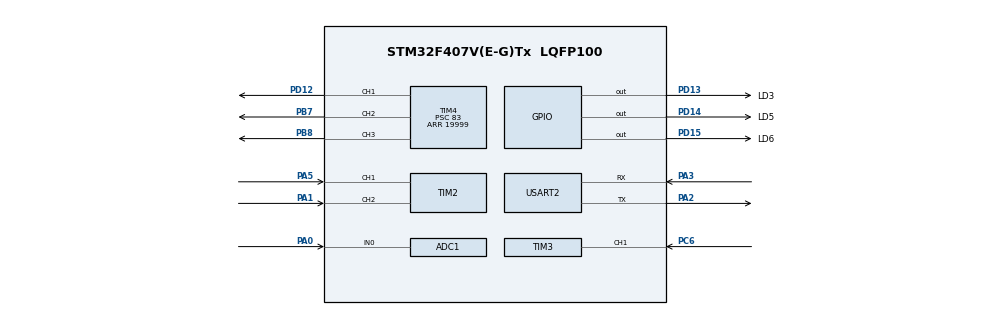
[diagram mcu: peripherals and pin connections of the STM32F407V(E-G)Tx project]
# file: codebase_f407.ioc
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ADC1.Channel-2\#ChannelRegularConversion=ADC_CHANNEL_0
ADC1.ContinuousConvMode=DISABLE
ADC1.EOCSelection=ADC_EOC_SEQ_CONV
ADC1.ExternalTrigConv=ADC_EXTERNALTRIGCONV_T8_TRGO
ADC1.NbrOfConversion=1
ADC1.NbrOfConversionFlag=1
ADC1.Rank-2\#ChannelRegularConversion=1
ADC1.SamplingTime-2\#ChannelRegularConversion=ADC_SAMPLETIME_480CYCLES
ADC1.master=1
Mcu.Family=STM32F4
Mcu.Name=STM32F407V(E-G)Tx
Mcu.Package=LQFP100
NVIC.ADC_IRQn=true\:0\:0\:false\:false\:true\:true\:true\:true
NVIC.PriorityGroup=NVIC_PRIORITYGROUP_4
NVIC.TIM3_IRQn=true\:0\:0\:false\:false\:true\:true\:true\:true
NVIC.TIM7_IRQn=true\:0\:0\:false\:false\:true\:true\:true\:true
NVIC.USART2_IRQn=true\:0\:0\:false\:false\:true\:true\:true\:true
PA0-WKUP.Signal=ADCx_IN0
PA1.Signal=S_TIM2_CH2
PA2.Mode=Asynchronous
PA2.Signal=USART2_TX
PA3.Mode=Asynchronous
PA3.Signal=USART2_RX
PA5.Signal=S_TIM2_CH1_ETR
PB7.Signal=S_TIM4_CH2
PB8.Signal=S_TIM4_CH3
PC6.Signal=S_TIM3_CH1
PD12.Signal=S_TIM4_CH1
PD13.GPIO_Label=LD3
PD13.Signal=GPIO_Output
PD14.GPIO_Label=LD5
PD14.Signal=GPIO_Output
PD15.GPIO_Label=LD6
PD15.Signal=GPIO_Output
PH0-OSC_IN.Mode=HSE-External-Oscillator
PH0-OSC_IN.Signal=RCC_OSC_IN
PH1-OSC_OUT.Mode=HSE-External-Oscillator
PH1-OSC_OUT.Signal=RCC_OSC_OUT
ProjectManager.HeapSize=0x200
ProjectManager.StackSize=0x400
ProjectManager.TargetToolchain=STM32CubeIDE
RCC.48MHZClocksFreq_Value=84000000
RCC.AHBFreq_Value=168000000
RCC.APB1CLKDivider=RCC_HCLK_DIV4
RCC.APB1Freq_Value=42000000
RCC.APB1TimFreq_Value=84000000
RCC.APB2CLKDivider=RCC_HCLK_DIV2
RCC.APB2Freq_Value=84000000
RCC.APB2TimFreq_Value=168000000
RCC.CortexFreq_Value=168000000
RCC.HCLKFreq_Value=168000000
RCC.HSE_VALUE=8000000
RCC.HSI_VALUE=16000000
RCC.LSE_VALUE=32768
RCC.PLLM=4
RCC.PLLN=168
RCC.PLLSourceVirtual=RCC_PLLSOURCE_HSE
RCC.RCC_MCO1Source=RCC_MCO1SOURCE_HSE
RCC.RCC_MCO2Source=RCC_MCO2SOURCE_HSE
RCC.RCC_MCODiv1=RCC_MCODIV_4
RCC.SYSCLKFreq_VALUE=168000000
RCC.SYSCLKSource=RCC_SYSCLKSOURCE_PLLCLK
RCC.VCOOutputFreq_Value=336000000
SH.ADCx_IN0.0=ADC1_IN0,IN0
SH.S_TIM2_CH1_ETR.0=TIM2_CH1,Encoder_Interface
SH.S_TIM2_CH2.0=TIM2_CH2,Encoder_Interface
SH.S_TIM3_CH1.0=TIM3_CH1,Input_Capture1_from_TI1
SH.S_TIM4_CH1.0=TIM4_CH1,PWM Generation1 CH1
SH.S_TIM4_CH2.0=TIM4_CH2,PWM Generation2 CH2
SH.S_TIM4_CH3.0=TIM4_CH3,Output Compare3 CH3
TIM2.AutoReloadPreload=TIM_AUTORELOAD_PRELOAD_ENABLE
TIM2.EncoderMode=TIM_ENCODERMODE_TI12
TIM2.IC1Filter=10
TIM2.IC2Filter=10
TIM3.Channel-Input_Capture1_from_TI1=TIM_CHANNEL_1
TIM3.Channel-Input_Capture2_from_TI1_63=TIM_CHANNEL_2
TIM3.ICPolarity_CH2=TIM_INPUTCHANNELPOLARITY_FALLING
TIM3.Prescaler=83
TIM3.TIM_MasterOutputTrigger=TIM_TRGO_RESET
TIM3.TIM_MasterSlaveMode=TIM_MASTERSLAVEMODE_DISABLE
TIM4.AutoReloadPreload=TIM_AUTORELOAD_PRELOAD_ENABLE
TIM4.Channel-Output\ Compare3\ CH3=TIM_CHANNEL_3
TIM4.Channel-PWM\ Generation1\ CH1=TIM_CHANNEL_1
TIM4.Channel-PWM\ Generation2\ CH2=TIM_CHANNEL_2
TIM4.OC3Preload=ENABLE
TIM4.OCMode_3=TIM_OCMODE_TOGGLE
TIM4.Period=19999
TIM4.Prescaler=83
TIM4.Pulse-Output\ Compare3\ CH3=300
TIM4.Pulse-PWM\ Generation1\ CH1=0
TIM4.Pulse-PWM\ Generation2\ CH2=500
TIM4.TIM_MasterSlaveMode=TIM_MASTERSLAVEMODE_DISABLE
TIM7.AutoReloadPreload=TIM_AUTORELOAD_PRELOAD_ENABLE
TIM7.Period=4999
TIM7.Prescaler=8399
USART2.VirtualMode=VM_ASYNC
VP_TIM3_VS_ClockSourceINT.Mode=Internal
VP_TIM3_VS_indirect_ch1.Mode=Input_Capture2_from_TI1_63
VP_TIM4_VS_ClockSourceINT.Mode=Internal
VP_TIM7_VS_ClockSourceINT.Mode=Enable_Timer
board=custom

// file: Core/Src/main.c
/* USER CODE BEGIN Header */
/**
  ******************************************************************************
  * @file           : main.c
  * @brief          : Main program body
  ******************************************************************************
  * @attention
  *
  * Copyright (c) 2026 STMicroelectronics.
  * All rights reserved.
  *
  * This software is licensed under terms that can be found in the LICENSE file
  * in the root directory of this software component.
  * If no LICENSE file comes with this software, it is provided AS-IS.
  *
  ******************************************************************************
  */
/* USER CODE END Header */
#include "main.h"
#include "adc.h"
#include "tim.h"
#include "usart.h"
#include "gpio.h"

/* USER CODE BEGIN Includes */
#include <stdio.h>

/* USER CODE END Includes */

/* USER CODE BEGIN PV */
uint8_t is_first_capture = 1;
uint32_t last_capture = 0;
uint32_t duty_cycle = 0;
uint32_t pulse_width = 0;
uint16_t adc_value;
int16_t angle;
float temperature;
char usart_buffer[50];
int32_t encoder_count = 0;

/* USER CODE END PV */

void SystemClock_Config(void);

/* USER CODE BEGIN 0 */
// int _write(int file, char *ptr, int len)
//{
//     for (int i = 0; i < len; i++) {
//         ITM_SendChar((*ptr++));
//     }
//     return len;
// }

int __io_putchar(int ch)
{
    USART2_sendChar(ch);
    return ch;
}

// Handler for input capture, calculate duty cycle
void input_capture_tim3_cc1_handler(uint32_t captured_value) {
    if (is_first_capture) {
        last_capture = captured_value;
        is_first_capture = 0;
        return;
    }

    if (captured_value >= last_capture) {
        duty_cycle = captured_value - last_capture;
    } else {
        // Handle timer overflow
        duty_cycle = (0xFFFF - last_capture) + captured_value + 1;
    }

    last_capture = captured_value;

    // Print duty cycle for debugging
    // printf("Captured Duty Cycle: %lu\r\n", duty_cycle);

}

// Measure pulse width on falling edge, used for echo signal from ultrasonic sensor
void input_capture_tim3_cc2_handler(uint32_t falling_value) {
    // Calculate pulse width, when falling edge is captured - rising edge was stored
    if (falling_value >= last_capture) {
        pulse_width = falling_value - last_capture;
    } else {
        // Handle timer overflow
        pulse_width = (0xFFFF - last_capture) + falling_value + 1;
    }

    // float distance = ((float) pulse_width * 0.0343f) / 2.0f; // in cm
    // printf("Distance (cm): %d\r\n", (int) distance);
}

// ADC conversion complete interrupt handler
void adc1_interrupt_handler(uint16_t val)
{
    adc_value = val;
    // printf("ADC Value: %d\r\n", adc_value);
}

float ADC_readTemperature(uint16_t adc_raw)
{
    float vsense;
    float temperature;

    // Convert to Vsense
    vsense = (float)adc_raw * 3300.0f / 4095.0f;

    // Calculate temperature in Celsius
    temperature = ((vsense - 760.0f) / 2.5f) + 25.0f;

    return temperature;
}

void usart2_interrupt_handler(uint8_t data)
{
    // Echo received data back
    USART2_sendChar(data);
}

void tim7_interrupt_handler(void)
{
    // Trigger ADC conversion
    ADC1_triggerConvert();

    // Toggle LED LD3
    LL_GPIO_TogglePin(LD3_GPIO_Port, LD3_Pin);

    // Get encoder count from TIM2
    encoder_count = Encoder_GetCount();
    printf("Encoder Count: %ld\r\n", encoder_count);
}

/* USER CODE END 0 */

int main(void)
{

  /* MCU Configuration--------------------------------------------------------*/

  /* Reset of all peripherals, Initializes the Flash interface and the Systick. */
  LL_APB2_GRP1_EnableClock(LL_APB2_GRP1_PERIPH_SYSCFG);
  LL_APB1_GRP1_EnableClock(LL_APB1_GRP1_PERIPH_PWR);

  /* System interrupt init*/
  NVIC_SetPriorityGrouping(NVIC_PRIORITYGROUP_4);

  /* SysTick_IRQn interrupt configuration */
  NVIC_SetPriority(SysTick_IRQn, NVIC_EncodePriority(NVIC_GetPriorityGrouping(),15, 0));

  /* Configure the system clock */
  SystemClock_Config();

  /* USER CODE BEGIN SysInit */
    LL_Init1msTick(168000000);
    LL_SYSTICK_EnableIT();

  /* USER CODE END SysInit */

  /* Initialize all configured peripherals */
  MX_GPIO_Init();
  MX_TIM2_Init();
  MX_TIM4_Init();
  MX_TIM3_Init();
  MX_ADC1_Init();
  MX_USART2_UART_Init();
  MX_TIM7_Init();
  /* USER CODE BEGIN 2 */
    // Initialize servos
    Servo_Init();
  /* USER CODE END 2 */

  /* Infinite loop */
  /* USER CODE BEGIN WHILE */
    // ADC1_triggerConvert();

  while (1)
  {
    // // Rotate servo1 from 0 to 180 degrees
    // for (int16_t angle = 0; angle <= 180; angle += 1) {
    //     Servo_setAngle(SERVO1, angle);
    //     LL_mDelay(5);
    // }

    // LL_mDelay(500);

    // // Rotate servo1 from 180 to 0 degrees
    // for (int16_t angle = 180; angle >= 0; angle -= 1) {
    //     Servo_setAngle(SERVO1, angle);
    //     LL_mDelay(5);
    // }
    // LL_mDelay(500);

    /* Read ADC value */

    // // Mode1: Independent mode
    // ADC1_triggerConvert();
    // adc_value = ADC1_readValue();

    // // Convert ADC value to temperature in Celsius when using internal temperature sensor
    // temperature = ADC_readTemperature(adc_value);
    // printf("ADC Value: %d, Temperature: %d C\r\n", adc_value, (int)temperature);

    // Send adc value to USART2
    // sprintf(usart_buffer, "ADC Value: %d\r\n", adc_value);
    // USART2_sendString(usart_buffer);
    // USART2_Transmit(usart_buffer, strlen(usart_buffer));

    // convert ADC to angle (0-180)
    angle = (adc_value * 180) / 4095;
    Servo_setAngle(SERVO1, angle);
    LL_mDelay(300);

    /* USER CODE END WHILE */

  }
}

void SystemClock_Config(void)
{
  LL_FLASH_SetLatency(LL_FLASH_LATENCY_5);
  while(LL_FLASH_GetLatency()!= LL_FLASH_LATENCY_5)
  {
  }
  LL_PWR_SetRegulVoltageScaling(LL_PWR_REGU_VOLTAGE_SCALE1);
  LL_RCC_HSE_Enable();

   /* Wait till HSE is ready */
  while(LL_RCC_HSE_IsReady() != 1)
  {

  }
  LL_RCC_PLL_ConfigDomain_SYS(LL_RCC_PLLSOURCE_HSE, LL_RCC_PLLM_DIV_4, 168, LL_RCC_PLLP_DIV_2);
  LL_RCC_PLL_Enable();

   /* Wait till PLL is ready */
  while(LL_RCC_PLL_IsReady() != 1)
  {

  }
  while (LL_PWR_IsActiveFlag_VOS() == 0)
  {
  }
  LL_RCC_SetAHBPrescaler(LL_RCC_SYSCLK_DIV_1);
  LL_RCC_SetAPB1Prescaler(LL_RCC_APB1_DIV_4);
  LL_RCC_SetAPB2Prescaler(LL_RCC_APB2_DIV_2);
  LL_RCC_SetSysClkSource(LL_RCC_SYS_CLKSOURCE_PLL);

   /* Wait till System clock is ready */
  while(LL_RCC_GetSysClkSource() != LL_RCC_SYS_CLKSOURCE_STATUS_PLL)
  {

  }
  LL_Init1msTick(168000000);
  LL_SetSystemCoreClock(168000000);
}

void Error_Handler(void)
{
    __disable_irq();
    while (1) {}
}
